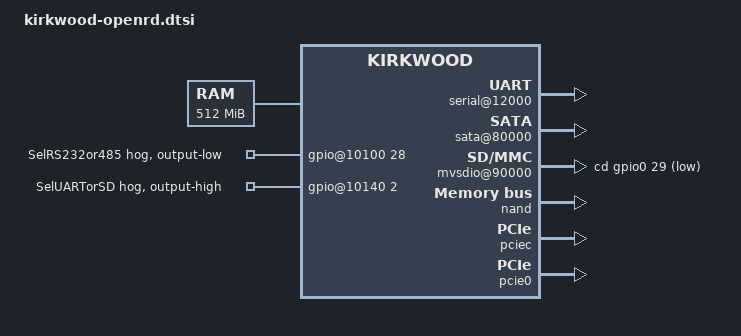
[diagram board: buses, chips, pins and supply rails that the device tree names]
// SPDX-License-Identifier: GPL-2.0
/*
 * Marvell OpenRD (Base|Client|Ultimate) Board Description
 *
 * Andrew Lunn <andrew@lunn.ch>
 *
 * This file contains the definitions that are common between the three
 * variants of the Marvell Kirkwood Development Board.
 */

#include "kirkwood.dtsi"
#include "kirkwood-6281.dtsi"

/ {
	memory {
		device_type = "memory";
		reg = <0x00000000 0x20000000>;
	};

	chosen {
		bootargs = "console=ttyS0,115200n8";
		stdout-path = &uart0;
	};

	ocp@f1000000 {
		pinctrl: pin-controller@10000 {
			pinctrl-0 = <&pmx_select28 &pmx_sdio_cd &pmx_select34>;
			pinctrl-names = "default";

			pmx_select28: pmx-select-rs232-rs485 {
				marvell,pins = "mpp28";
				marvell,function = "gpio";
			};
			pmx_sdio_cd: pmx-sdio-cd {
				marvell,pins = "mpp29";
				marvell,function = "gpio";
			};
			pmx_select34: pmx-select-uart-sd {
				marvell,pins = "mpp34";
				marvell,function = "gpio";
			};
		};
		serial@12000 {
			status = "okay";

		};
		sata@80000 {
			status = "okay";
			nr-ports = <2>;
		};
		mvsdio@90000 {
			status = "okay";
			cd-gpios = <&gpio0 29 9>;
		};
		gpio@10100 {
			p28 {
				gpio-hog;
				gpios = <28 GPIO_ACTIVE_HIGH>;
				/*
				 * SelRS232or485 selects between RS-232 or RS-485
				 * mode for the second UART.
				 *
				 * Low: RS-232
				 * High: RS-485
				 *
				 * To use the second UART, you need to change also
				 * the SelUARTorSD.
				 */
				output-low;
				line-name = "SelRS232or485";
			};
		};
		gpio@10140 {
			p2 {
				gpio-hog;
				gpios = <2 GPIO_ACTIVE_HIGH>;
				/*
				 * SelUARTorSD selects between the second UART
				 * (serial@12100) and SD (mvsdio@90000).
				 *
				 * Low: UART
				 * High: SD
				 *
				 * When changing this line make sure the newly
				 * selected device node is enabled and the
				 * previously selected device node is disabled.
				 */
				output-high; /* Select SD by default */
				line-name = "SelUARTorSD";
			};
		};
	};
};

&nand {
	status = "okay";
	pinctrl-0 = <&pmx_nand>;
	pinctrl-names = "default";

	partition@0 {
		label = "u-boot";
		reg = <0x0000000 0x100000>;
	};

	partition@100000 {
		label = "uImage";
		reg = <0x0100000 0x400000>;
	};

	partition@600000 {
		label = "root";
		reg = <0x0600000 0x1FA00000>;
	};
};

&pciec {
	status = "okay";
};

&pcie0 {
	status = "okay";
};
